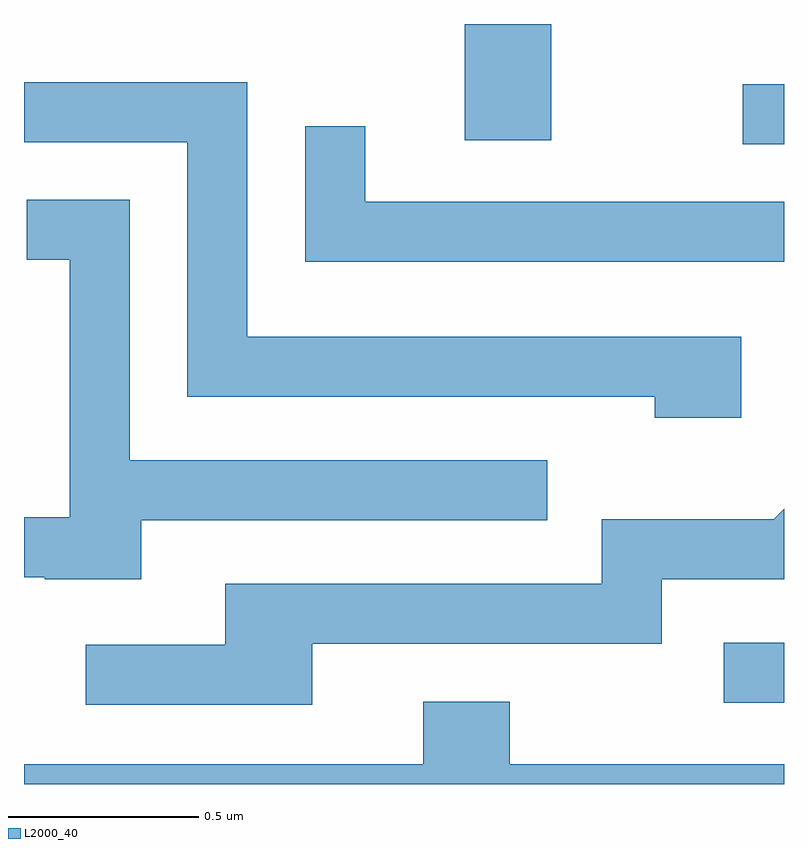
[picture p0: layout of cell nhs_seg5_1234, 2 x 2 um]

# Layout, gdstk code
import gdstk
lib = gdstk.Library(unit=1e-6, precision=1e-09)
def R(c, l, rs):  # rectangles x0, y0, x1, y1
    for r in rs: c.add(gdstk.rectangle(r[:2], r[2:], *l))
def P(c, l, *ps):  # polygons
    for p in ps: c.add(gdstk.Polygon(p, *l))
L2000_40 = (2000, 40)

nhs_seg5_1234 = lib.new_cell('nhs_seg5_1234')
R(nhs_seg5_1234, L2000_40, [(196.453,1397.286,196.611,1397.444), (196.503,1398.756,196.611,1398.914), (195.771,1398.766,195.999,1399.072)])
P(nhs_seg5_1234, L2000_40, [(196.499,1398.249),(195.199,1398.249),(195.199,1398.919),(194.611,1398.919),(194.611,1398.761),(195.041,1398.761),(195.041,1398.091),(196.271,1398.091),(196.271,1398.036),(196.499,1398.036)],
  [(196.611,1398.604),(195.509,1398.604),(195.509,1398.803),(195.351,1398.803),(195.351,1398.446),(196.611,1398.446)],
  [(194.919,1397.766),(195.988,1397.766),(195.988,1397.924),(194.889,1397.924),(194.889,1398.609),(194.618,1398.609),(194.618,1398.451),(194.731,1398.451),(194.731,1397.774),(194.611,1397.774),(194.611,1397.616),(194.665,1397.616),(194.665,1397.611),(194.919,1397.611)],
  [(195.369,1397.441),(196.289,1397.441),(196.289,1397.611),(196.611,1397.611),(196.611,1397.796),(196.584,1397.769),(196.131,1397.769),(196.131,1397.599),(195.141,1397.599),(195.141,1397.439),(194.773,1397.439),(194.773,1397.281),(195.369,1397.281)],
  [(196.611,1397.124),(195.889,1397.124),(195.889,1397.289),(195.661,1397.289),(195.661,1397.124),(194.611,1397.124),(194.611,1397.072),(196.611,1397.072)])

lib.write_gds('nhs_seg5_1234.gds')
